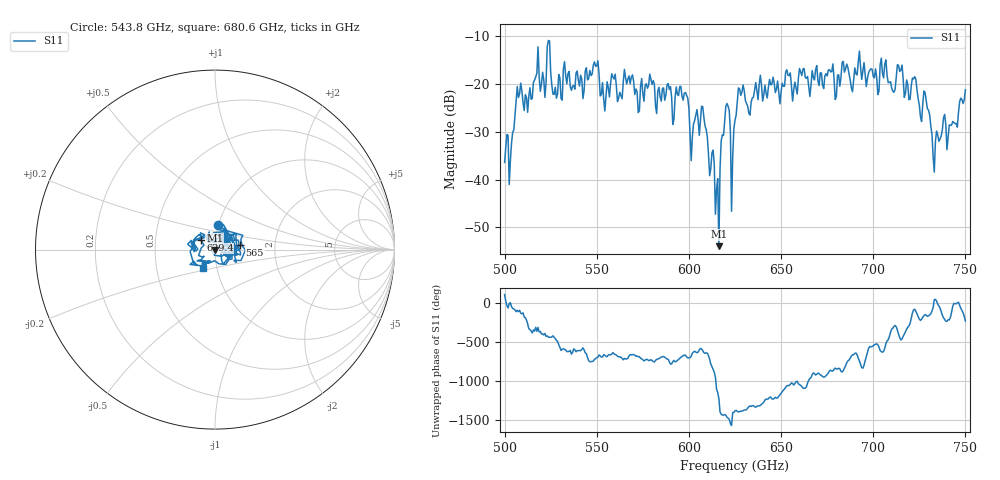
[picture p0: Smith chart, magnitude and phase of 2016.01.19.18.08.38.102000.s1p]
!Created with skrf (http://scikit-rf.org).
# GHz S RI R 50.0
!freq ReS11 ImS11
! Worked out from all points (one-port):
!   401 points, 500 GHz to 750 GHz, reference 50 ohm
!   lowest |S11| = -53.9 dB at 616.2 GHz (marker M1), VSWR 1.00, Z = 49.8 - j0.131 ohm
!   |S11| at or under -10 dB: start of sweep to end of sweep
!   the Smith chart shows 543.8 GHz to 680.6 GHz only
!   S11 on the Smith chart (normalised r, x): 543.8 GHz: 1.00, +0.28; 565 GHz: 1.32, +0.07; 639.4 GHz: 0.85, +0.09; 680.6 GHz: 0.85, -0.18
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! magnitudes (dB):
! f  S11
! 500 GHz  -36.4
! 503.8 GHz  -32.4
! 508.1 GHz  -22.1
! 523.8 GHz  -10.9
! 526.9 GHz  -22.2
! 531.2 GHz  -23.4
! 543.8 GHz  -17.3
! 549.4 GHz  -16.3
! 562.5 GHz  -21.7
! 565 GHz  -17.0
! 593.8 GHz  -22.2
! 601.9 GHz  -31.0
! 608.1 GHz  -27.0
! 615 GHz  -42.0
! 616.2 GHz  -53.9
! 620.6 GHz  -24.1
! 623.1 GHz  -46.6
! 625 GHz  -27.6
! 628.1 GHz  -22.4
! 639.4 GHz  -20.2
! 656.2 GHz  -23.6
! 680.6 GHz  -18.2
! 687.5 GHz  -19.1
! 714.4 GHz  -17.4
! 718.8 GHz  -20.1
! 728.8 GHz  -23.6
! 733.1 GHz  -38.4
! 750 GHz  -21.2
